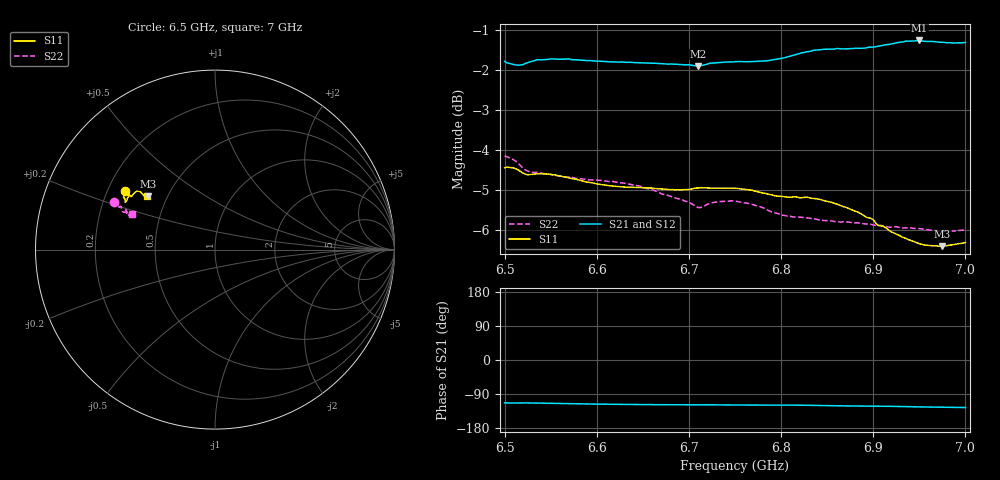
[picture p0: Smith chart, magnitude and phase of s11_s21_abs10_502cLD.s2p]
! MS46122B
! 1919307/90821646
! 7/29/2022 2:41:15 PM
! C:\USERS\PC_\DESKTOP\MEDICIONES\BANCHA ESTRECHA\65_7GHZ\S11_S21_ABS10_502CL.S2P
! CHANNEL.1
! TR.MEASUREMENT
! CORRECTED.DATA
# GHZ S RI R 50.0
! FREQ.GHZ  S11RE  S11IM  S21RE  S21IM  S12RE  S12IM  S22RE  S22IM
!; PortSelection: Port_12
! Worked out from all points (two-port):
!   201 points, 6.5 GHz to 7 GHz, reference 50 ohm
!   highest |S21| = -1.25 dB at 6.95 GHz (marker M1); lowest = -1.9 dB at 6.71 GHz (marker M2)
!   |S21| within 3 dB of the highest: start of sweep to end of sweep
!   lowest |S11| = -6.4 dB at 6.975 GHz (marker M3), VSWR 2.83, Z = 19.5 + j15.1 ohm
!   |S11| at or under -10 dB: nowhere
!   |S22| runs from -6.0 to -4.1 dB; largest |S21 - S12| = 0.012
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6.5  -0.5036 0.3253  -0.3173 -0.7505  -0.3135 -0.7485  -0.5607 0.2661
6.5125  -0.5057 0.3185  -0.3213 -0.7398  -0.3131 -0.7429  -0.5509 0.2632
6.5225  -0.5015 0.308  -0.3185 -0.7449  -0.3096 -0.7484  -0.5402 0.2515
6.54  -0.5089 0.2969  -0.3328 -0.7479  -0.3227 -0.7538  -0.5407 0.237
6.585  -0.5028 0.283  -0.358 -0.7351  -0.3531 -0.7436  -0.5287 0.2396
6.6225  -0.5002 0.2692  -0.3699 -0.7241  -0.3669 -0.7298  -0.5226 0.2395
6.6675  -0.4984 0.2646  -0.3793 -0.7154  -0.3784 -0.7191  -0.5158 0.2132
6.6875  -0.4934 0.2708  -0.3812 -0.7125  -0.3821 -0.7156  -0.5079 0.2078
6.71  -0.4875 0.2867  -0.3808 -0.7085  -0.3819 -0.711  -0.4938 0.2047
6.725  -0.4812 0.2967  -0.3841 -0.7141  -0.3845 -0.7161  -0.5003 0.2085
6.75  -0.4764 0.304  -0.3927 -0.7133  -0.392 -0.7146  -0.4975 0.2214
6.7775  -0.4713 0.2994  -0.3954 -0.7131  -0.3948 -0.7118  -0.4916 0.2131
6.8025  -0.4659 0.2956  -0.3981 -0.7204  -0.3967 -0.7187  -0.4862 0.1918
6.82  -0.4587 0.3033  -0.4062 -0.7277  -0.405 -0.7244  -0.4848 0.1881
6.835  -0.4497 0.3145  -0.4168 -0.7306  -0.4158 -0.7278  -0.4802 0.1935
6.8525  -0.4357 0.3251  -0.4291 -0.727  -0.4281 -0.7247  -0.4726 0.2034
6.87  -0.4241 0.3263  -0.437 -0.7228  -0.4352 -0.719  -0.4673 0.2114
6.895  -0.4107 0.3171  -0.4456 -0.7226  -0.4416 -0.7157  -0.4626 0.2146
6.9175  -0.3981 0.3026  -0.4567 -0.7237  -0.4506 -0.7184  -0.4612 0.2056
6.95  -0.3813 0.2942  -0.4812 -0.7195  -0.47 -0.7162  -0.4634 0.1958
6.975  -0.3743 0.2976  -0.4915 -0.7068  -0.4825 -0.7062  -0.4607 0.1938
7  -0.3781 0.3012  -0.4991 -0.7015  -0.4899 -0.6995  -0.4612 0.1961
